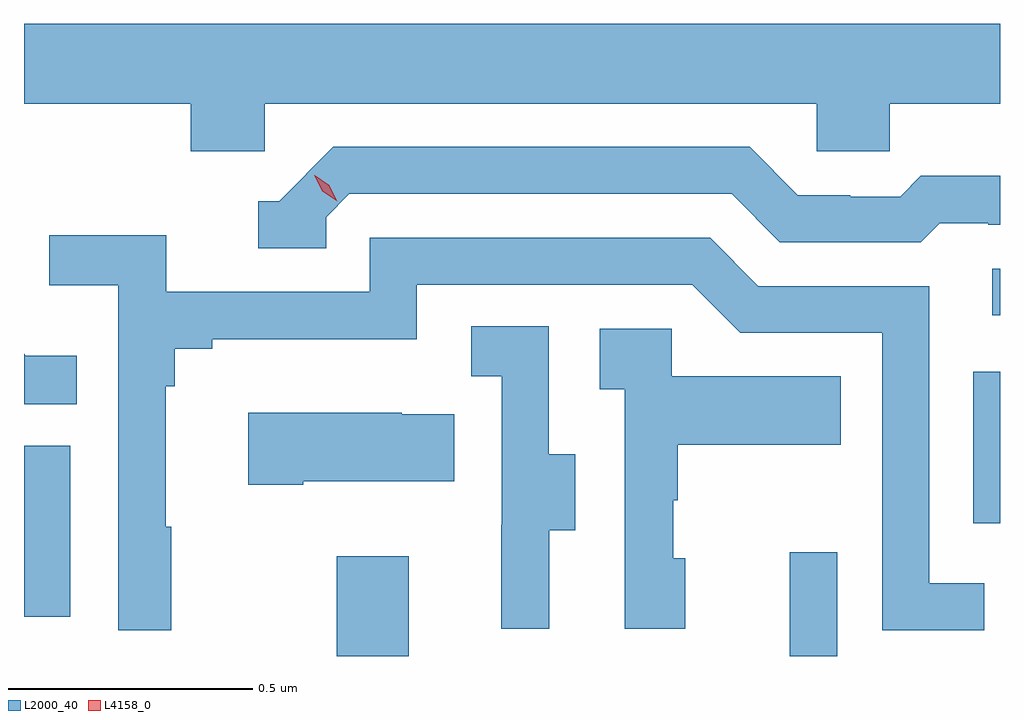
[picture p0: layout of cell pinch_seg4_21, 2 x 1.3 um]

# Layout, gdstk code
import gdstk
lib = gdstk.Library(unit=1e-6, precision=1e-09)
def R(c, l, rs):  # rectangles x0, y0, x1, y1
    for r in rs: c.add(gdstk.rectangle(r[:2], r[2:], *l))
def P(c, l, *ps):  # polygons
    for p in ps: c.add(gdstk.Polygon(p, *l))
L2000_40 = (2000, 40)
L4158_0 = (4158, 0)

pinch_seg4_21 = lib.new_cell('pinch_seg4_21')
R(pinch_seg4_21, L2000_40, [(1091.566,822.327,1091.713,822.532), (1092.494,822.327,1092.591,822.541), (1090.925,822.408,1091.02,822.759), (1092.87,822.6,1092.925,822.91), (1092.909,823.026,1092.925,823.122)])
P(pinch_seg4_21, L2000_40, [(1091.418,823.46),(1092.549,823.46),(1092.549,823.362),(1092.699,823.362),(1092.699,823.46),(1092.925,823.46),(1092.925,823.624),(1090.925,823.624),(1090.925,823.46),(1091.267,823.46),(1091.267,823.362),(1091.418,823.362)],
  [(1091.544,823.227),(1091.592,823.275),(1092.375,823.275),(1092.474,823.176),(1092.763,823.176),(1092.802,823.215),(1092.901,823.215),(1092.901,823.212),(1092.925,823.212),(1092.925,823.312),(1092.763,823.312),(1092.721,823.269),(1092.618,823.269),(1092.618,823.272),(1092.511,823.272),(1092.412,823.371),(1091.559,823.371),(1091.448,823.26),(1091.405,823.26),(1091.405,823.164),(1091.544,823.164)],
  [(1091.227,822.593),(1091.215,822.593),(1091.215,822.881),(1091.234,822.881),(1091.234,822.958),(1091.311,822.958),(1091.311,822.977),(1091.73,822.977),(1091.73,823.089),(1092.294,823.089),(1092.393,822.99),(1092.684,822.99),(1092.684,822.381),(1092.893,822.381),(1092.893,822.477),(1092.78,822.477),(1092.78,823.086),(1092.43,823.086),(1092.331,823.185),(1091.634,823.185),(1091.634,823.074),(1091.216,823.074),(1091.216,823.19),(1090.977,823.19),(1090.977,823.088),(1091.118,823.088),(1091.118,822.381),(1091.227,822.381)],
  [(1092.001,822.586),(1092.055,822.586),(1092.055,822.741),(1092,822.741),(1092,823.004),(1091.841,823.004),(1091.841,822.901),(1091.904,822.901),(1091.904,822.597),(1091.903,822.597),(1091.903,822.384),(1092.001,822.384)],
  [(1092.28,822.528),(1092.255,822.528),(1092.255,822.647),(1092.265,822.647),(1092.265,822.761),(1092.599,822.761),(1092.599,822.901),(1092.252,822.901),(1092.252,822.999),(1092.105,822.999),(1092.105,822.875),(1092.156,822.875),(1092.156,822.384),(1092.28,822.384)],
  [(1091.033,822.943),(1090.929,822.943),(1090.925,822.947),(1090.925,822.844),(1091.033,822.844)],
  [(1091.497,822.686),(1091.807,822.686),(1091.807,822.823),(1091.699,822.823),(1091.699,822.826),(1091.385,822.826),(1091.385,822.679),(1091.497,822.679)])
P(pinch_seg4_21, L4158_0, [(1091.567,823.26),(1091.536,823.28),(1091.52,823.313),(1091.52,823.313),(1091.521,823.313),(1091.551,823.293),(1091.567,823.26),(1091.567,823.26)])

lib.write_gds('pinch_seg4_21.gds')
